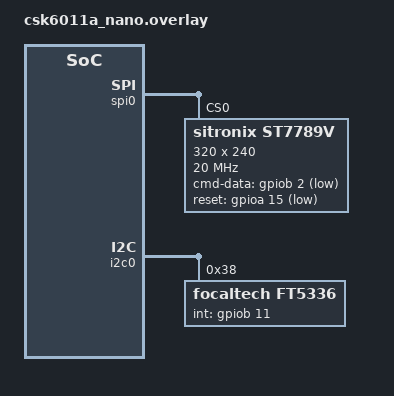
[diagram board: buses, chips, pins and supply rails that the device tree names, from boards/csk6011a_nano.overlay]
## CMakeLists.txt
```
# SPDX-License-Identifier: Apache-2.0

cmake_minimum_required(VERSION 3.20.0)

set(SUPPORT_BOARDS csk6_duomotai_devkit)
if(NOT ${BOARD} IN_LIST SUPPORT_BOARDS)
    message("Please choose one of the following boards:")
    foreach(item ${SUPPORT_BOARDS})
        message(STATUS ${item})
    endforeach()
    message(FATAL_ERROR "\nThe project does not support the ${BOARD}")
endif()

find_package(Zephyr REQUIRED HINTS $ENV{ZEPHYR_BASE})
project(lvgl8)

FILE(GLOB app_sources src/*.c)
target_sources(app PRIVATE ${app_sources})

set(LVGL_DIR ${ZEPHYR_LVGL_MODULE_DIR})

target_include_directories(app PRIVATE
    ${LVGL_DIR}/demos/
)

target_sources(app PRIVATE
    ${LVGL_DIR}/demos/benchmark/lv_demo_benchmark.c
    ${LVGL_DIR}/demos/benchmark/assets/img_benchmark_cogwheel_indexed16.c
    ${LVGL_DIR}/demos/benchmark/assets/lv_font_bechmark_montserrat_28_compr_az.c.c
    ${LVGL_DIR}/demos/benchmark/assets/lv_font_bechmark_montserrat_16_compr_az.c.c
    ${LVGL_DIR}/demos/benchmark/assets/img_benchmark_cogwheel_argb.c
    ${LVGL_DIR}/demos/benchmark/assets/img_benchmark_cogwheel_alpha16.c
    ${LVGL_DIR}/demos/benchmark/assets/img_benchmark_cogwheel_rgb.c
    ${LVGL_DIR}/demos/benchmark/assets/lv_font_bechmark_montserrat_12_compr_az.c.c
    ${LVGL_DIR}/demos/benchmark/assets/img_benchmark_cogwheel_chroma_keyed.c
    ${LVGL_DIR}/demos/benchmark/assets/img_benchmark_cogwheel_rgb565a8.c
)
```

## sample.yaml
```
sample:
  description: LVGL sample application
  name: lvgl
tests:
  sample.display.lvgl.gui.benchmark:
    build_only: true
    platform_allow: csk6_duomotai_devkit
```

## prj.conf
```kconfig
CONFIG_LOG=y

CONFIG_ST7789V=y
CONFIG_GPIO=y
CONFIG_SPI=y

CONFIG_LVGL=y
CONFIG_INPUT=y
CONFIG_DISPLAY=y
# CONFIG_LV_Z_DISPLAY_DEV_NAME="ST7789V"
# CONFIG_LV_Z_HOR_RES_MAX=320
# CONFIG_LV_Z_VER_RES_MAX=480
CONFIG_LV_USE_DEMO_WIDGETS=y
CONFIG_LV_USE_DEMO_BENCHMARK=y

CONFIG_LV_COLOR_16_SWAP=y
CONFIG_LV_MEM_SIZE_KILOBYTES=64
CONFIG_COMMON_LIBC_MALLOC_ARENA_SIZE=512
```

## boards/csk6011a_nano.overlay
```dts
/*
 * Copyright (c) 2023 Anhui(Shenzhen) Listenai Co., Ltd.
 *
 * SPDX-License-Identifier: Apache-2.0
 */
&pinctrl {

	pinctrl_i2c0_scl_default: i2c0_scl_default{
		pinctrls = <I2C0_SCL_GPIOB_04>;
	};

	pinctrl_i2c0_sda_default: i2c0_sda_default{
		pinctrls = <I2C0_SDA_GPIOB_03>;
	};

	pinctrl_spi0_sclk_default: spi0_sclk_default {
		pinctrls = <&pinmuxb 1 6>;
	};
	pinctrl_spi0_mosi_default: spi0_mosi_default {
		pinctrls = <&pinmuxb 10 6>;
	};
	pinctrl_spi0_miso_default: spi0_miso_default {
		pinctrls = <&pinmuxa 17 6>;
	};
	pinctrl_spi0_cs_default: spi0_cs_default {
		pinctrls = <&pinmuxb 0 6>;
	};

};

&spi0 {
	status = "okay";
	pinctrl-0 = <&pinctrl_spi0_sclk_default &pinctrl_spi0_mosi_default &pinctrl_spi0_miso_default &pinctrl_spi0_cs_default>;
	pinctrl-names = "default";

	st7789v:st7789v@0 {
		compatible = "sitronix,st7789v";
		status = "okay";
		spi-max-frequency = <20000000>;
		reg = <0>;
		cmd-data-gpios = <&gpiob 2 1>;
		reset-gpios = <&gpioa 15 1>;
		width = <320>;
		height = <240>;
		x-offset = <0>;
		y-offset = <0>;
		// reg: 0xBB
		vcom = <0x1e>;
		// reg: 0xB7
		gctrl = <0x35>;
		// reg: 0xC3
		vrhs = <0x0b>;
		// reg: 0xC4
		vdvs = <0x20>;
		// reg: 0x36
		mdac = <0xA3>;
		// reg: 0x26
		gamma = <0x01>;
		// reg: 0x3a
		colmod = <0x05>;
		// reg: 0xc0
		lcm = <0x3c>;
		// reg: 0xb2
		porch-param = [ 0c 0c 00 33 33  ];
		// reg: 0xDF
		cmd2en-param = [ 5a 69 02 01  ];
		// reg: 0xD0
		pwctrl1-param = [ a4 a1  ];
		// reg: 0xE0
		pvgam-param = [ d0 06 0b 07 07 24 2e 32 46 37 13 13 2d 33  ];
		// reg: 0xE1
		nvgam-param = [ d0 02 06 09 08 05 29 44 42 38 14 14 2a 30  ];
		// reg: b0
		ram-param = [ 00 F0  ];
		// reg: b1
		rgb-param = [ CD 08 14  ];
	};
};

&i2c0 {
	status = "okay";
	pinctrl-0 = <&pinctrl_i2c0_scl_default &pinctrl_i2c0_sda_default>;
	pinctrl-names = "default";
	ft5336:ft5336@38 {
		compatible = "focaltech,ft5336";
		reg = <0x38>;
		status = "okay";
		int-gpios = <&gpiob 11 0>;
	};
};

/ {
	chosen {
		zephyr,display=&st7789v;
		zephyr,keyboard_scan=&ft5336;
	};
};
```

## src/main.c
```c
/*
 * Copyright (c) 2023 Anhui(Shenzhen) Listenai Co., Ltd.
 *
 * SPDX-License-Identifier: Apache-2.0
 */
#include <stdio.h>
#include <string.h>

#include <zephyr/device.h>
#include <zephyr/drivers/display.h>
#include <lvgl.h>
#include <zephyr/kernel.h>

#define LOG_LEVEL CONFIG_LOG_DEFAULT_LEVEL
#include <zephyr/logging/log.h>
LOG_MODULE_REGISTER(app);

int main(void)
{
	const struct device *display_dev;

	display_dev = DEVICE_DT_GET(DT_CHOSEN(zephyr_display));
	if (display_dev == NULL) {
		LOG_ERR("Device not ready, aborting test");
		return -1;
	}

	display_blanking_off(display_dev);

	extern void lv_demo_benchmark(void);
	lv_demo_benchmark();

	while (1) {
		lv_task_handler();
		k_sleep(K_MSEC(10));
	}
	return 0;
}
```
